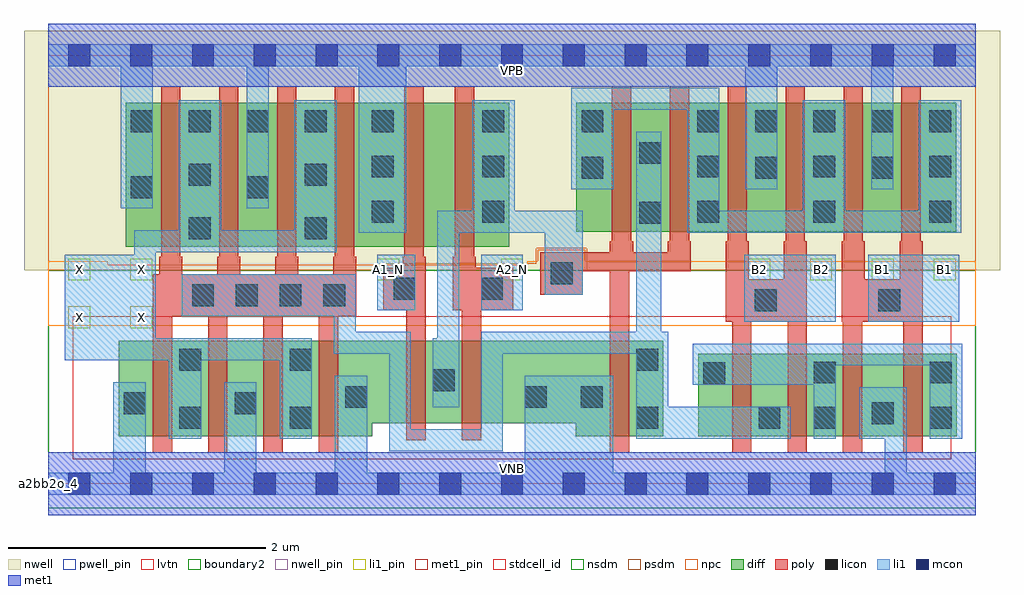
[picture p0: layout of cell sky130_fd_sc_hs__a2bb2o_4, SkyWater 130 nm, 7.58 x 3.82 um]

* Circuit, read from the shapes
.subckt sky130_fd_sc_hs__a2bb2o_4 A1_N A2_N B1 B2 VGND VNB VPB VPWR X
XM1 X n1 VGND VNB sky130_fd_pr__nfet_01v8_lvt w=0.74 l=0.15 m=4
XM2 n2 A1_N VGND VNB sky130_fd_pr__nfet_01v8_lvt w=0.64 l=0.15
XM3 VGND A2_N n2 VNB sky130_fd_pr__nfet_01v8_lvt w=0.64 l=0.15
XM4 n1 n2 VGND VNB sky130_fd_pr__nfet_01v8_lvt w=0.74 l=0.15
XM5 n1 B2 n3 VNB sky130_fd_pr__nfet_01v8_lvt w=0.64 l=0.15 m=2
XM6 VGND B1 n3 VNB sky130_fd_pr__nfet_01v8_lvt w=0.64 l=0.15 m=2
XM7 X n1 VPWR VPB sky130_fd_pr__pfet_01v8 w=1.12 l=0.15 m=4
XM8 n4 A1_N VPWR VPB sky130_fd_pr__pfet_01v8 w=1.12 l=0.15
XM9 n2 A2_N n4 VPB sky130_fd_pr__pfet_01v8 w=1.12 l=0.15
XM10 n1 n2 n5 VPB sky130_fd_pr__pfet_01v8 w=1 l=0.15 m=2
XM11 VPWR B2 n5 VPB sky130_fd_pr__pfet_01v8 w=1 l=0.15 m=2
XM12 VPWR B1 n5 VPB sky130_fd_pr__pfet_01v8 w=1 l=0.15 m=2
.ends

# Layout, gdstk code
import gdstk
lib = gdstk.Library(unit=1e-6, precision=1e-09)
def R(c, l, rs):  # rectangles x0, y0, x1, y1
    for r in rs: c.add(gdstk.rectangle(r[:2], r[2:], *l))
def A(c, l, x, y, w, h, nx, ny, dx, dy):  # array of equal rectangles
    R(c, l, [(x+i*dx, y+j*dy, x+i*dx+w, y+j*dy+h) for i in range(nx) for j in range(ny)])
def P(c, l, *ps):  # polygons
    for p in ps: c.add(gdstk.Polygon(p, *l))
nwell_pin = (64, 16)
nwell = (64, 20)
diff = (65, 20)
poly = (66, 20)
licon = (66, 44)
li1_pin = (67, 16)
li1 = (67, 20)
mcon = (67, 44)
met1_pin = (68, 16)
met1 = (68, 20)
stdcell_id = (81, 4)
nsdm = (93, 44)
psdm = (94, 20)
npc = (95, 20)
pwell_pin = (122, 16)
lvtn = (125, 44)
boundary2 = (236, 0)

sky130_fd_sc_hs__a2bb2o_ = lib.new_cell('sky130_fd_sc_hs__a2bb2o_4')
R(sky130_fd_sc_hs__a2bb2o_, nwell_pin, [(0,3.085,7.2,3.33)])
R(sky130_fd_sc_hs__a2bb2o_, nwell, [(-0.19,1.66,7.39,3.52)])
R(sky130_fd_sc_hs__a2bb2o_, diff, [(5.045,0.37,7.055,1.01), (0.6,1.84,3.58,2.96), (4.1,1.96,7.05,2.96)])
P(sky130_fd_sc_hs__a2bb2o_, diff, [(4.775,1.11),(0.545,1.11),(0.545,0.37),(2.515,0.37),(2.515,0.47),(4.095,0.47),(4.095,0.37),(4.775,0.37)])
P(sky130_fd_sc_hs__a2bb2o_, poly, [(6.79,1.885),(6.775,1.885),(6.775,3.09),(6.625,3.09),(6.625,1.885),(6.61,1.885),(6.61,1.59),(6.34,1.59),(6.34,1.885),(6.325,1.885),(6.325,3.09),(6.175,3.09),(6.175,1.885),(6.16,1.885),(6.16,1.26),(6.17,1.26),(6.17,0.24),(6.32,0.24),(6.32,1.26),(6.64,1.26),(6.64,0.24),(6.79,0.24)],
  [(5.89,1.885),(5.875,1.885),(5.875,3.09),(5.725,3.09),(5.725,1.885),(5.71,1.885),(5.71,1.59),(5.44,1.59),(5.44,1.885),(5.425,1.885),(5.425,3.09),(5.275,3.09),(5.275,1.885),(5.26,1.885),(5.26,1.26),(5.31,1.26),(5.31,0.24),(5.46,0.24),(5.46,1.26),(5.74,1.26),(5.74,0.24),(5.89,0.24)],
  [(4.99,1.885),(4.975,1.885),(4.975,3.09),(4.825,3.09),(4.825,1.885),(4.81,1.885),(4.81,1.8),(4.54,1.8),(4.54,1.885),(4.525,1.885),(4.525,3.09),(4.375,3.09),(4.375,1.885),(4.36,1.885),(4.36,1.8),(3.82,1.8),(3.82,1.47),(4.15,1.47),(4.15,1.65),(4.36,1.65),(4.36,0.24),(4.51,0.24),(4.51,1.65),(4.99,1.65)],
  [(3.61,1.68),(3.32,1.68),(3.32,1.765),(3.305,1.765),(3.305,3.09),(3.155,3.09),(3.155,1.765),(3.14,1.765),(3.14,1.35),(3.21,1.35),(3.21,0.34),(3.36,0.34),(3.36,1.35),(3.61,1.35)],
  [(2.93,1.765),(2.915,1.765),(2.915,3.09),(2.765,3.09),(2.765,1.765),(2.75,1.765),(2.75,1.68),(2.6,1.68),(2.6,1.35),(2.78,1.35),(2.78,0.34),(2.93,0.34)],
  [(2.39,1.765),(2.375,1.765),(2.375,3.09),(2.225,3.09),(2.225,1.765),(2.21,1.765),(2.21,1.63),(1.94,1.63),(1.94,1.765),(1.925,1.765),(1.925,3.09),(1.775,3.09),(1.775,1.765),(1.76,1.765),(1.76,1.63),(1.49,1.63),(1.49,1.765),(1.475,1.765),(1.475,3.09),(1.325,3.09),(1.325,1.765),(1.31,1.765),(1.31,1.63),(1.04,1.63),(1.04,1.765),(1.025,1.765),(1.025,3.09),(0.875,3.09),(0.875,1.765),(0.86,1.765),(0.86,1.63),(0.81,1.63),(0.81,0.24),(0.96,0.24),(0.96,1.3),(1.24,1.3),(1.24,0.24),(1.39,0.24),(1.39,1.3),(1.67,1.3),(1.67,0.24),(1.82,0.24),(1.82,1.3),(2.1,1.3),(2.1,0.24),(2.25,0.24),(2.25,1.3),(2.39,1.3)])
A(sky130_fd_sc_hs__a2bb2o_, licon, 1.115, 1.38, 0.17, 0.17, 4, 1, 0.34, 0)
A(sky130_fd_sc_hs__a2bb2o_, licon, 2.51, 2.03, 0.17, 0.17, 1, 3, 0, 0.35)
A(sky130_fd_sc_hs__a2bb2o_, licon, 3.37, 2.03, 0.17, 0.17, 1, 3, 0, 0.35)
A(sky130_fd_sc_hs__a2bb2o_, licon, 5.04, 2.03, 0.17, 0.17, 3, 2, 0.9, 0.35)
A(sky130_fd_sc_hs__a2bb2o_, licon, 0.64, 2.73, 0.17, 0.17, 4, 1, 0.45, 0)
A(sky130_fd_sc_hs__a2bb2o_, licon, 5.04, 2.73, 0.17, 0.17, 5, 1, 0.45, 0)
R(sky130_fd_sc_hs__a2bb2o_, licon, [(1.015,0.43,1.185,0.6), (1.875,0.43,2.045,0.6), (4.565,0.43,4.735,0.6), (5.515,0.43,5.685,0.6), (5.945,0.43,6.115,0.6), (6.845,0.43,7.015,0.6), (6.395,0.465,6.565,0.635), (0.585,0.54,0.755,0.71), (1.445,0.54,1.615,0.71), (2.305,0.59,2.475,0.76), (3.7,0.59,3.87,0.76), (4.135,0.59,4.305,0.76), (2.985,0.72,3.155,0.89), (5.085,0.775,5.255,0.945), (5.945,0.78,6.115,0.95), (6.845,0.78,7.015,0.95), (1.015,0.88,1.185,1.05), (1.875,0.88,2.045,1.05), (4.565,0.88,4.735,1.05), (5.485,1.34,5.655,1.51), (6.445,1.34,6.615,1.51), (2.68,1.43,2.85,1.6), (3.36,1.43,3.53,1.6), (3.9,1.55,4.07,1.72), (1.09,1.9,1.26,2.07), (1.99,1.9,2.16,2.07), (4.59,2.02,4.76,2.19), (0.64,2.22,0.81,2.39), (1.54,2.22,1.71,2.39), (1.09,2.315,1.26,2.485), (1.99,2.315,2.16,2.485), (4.14,2.37,4.31,2.54), (5.49,2.37,5.66,2.54), (6.39,2.37,6.56,2.54), (4.59,2.485,4.76,2.655), (4.14,2.73,4.31,2.9)])
A(sky130_fd_sc_hs__a2bb2o_, li1_pin, 5.435, 1.58, 0.17, 0.17, 4, 1, 0.48, 0)
R(sky130_fd_sc_hs__a2bb2o_, li1_pin, [(0.155,1.21,0.325,1.38), (0.635,1.21,0.805,1.38), (0.155,1.58,0.325,1.75), (0.635,1.58,0.805,1.75), (2.555,1.58,2.725,1.75), (3.515,1.58,3.685,1.75)])
R(sky130_fd_sc_hs__a2bb2o_, li1, [(5.405,1.26,6.115,1.78), (6.365,1.26,7.075,1.78), (2.555,1.35,2.85,1.78), (3.36,1.35,3.685,1.78)])
P(sky130_fd_sc_hs__a2bb2o_, li1, [(0.56,2.14),(0.56,3.245),(0,3.245),(0,3.415),(7.2,3.415),(7.2,3.245),(6.56,3.245),(6.56,2.29),(6.39,2.29),(6.39,3.245),(5.66,3.245),(5.66,2.29),(5.41,2.29),(5.41,3.245),(2.78,3.245),(2.78,1.95),(2.41,1.95),(2.41,3.245),(1.71,3.245),(1.71,2.14),(1.54,2.14),(1.54,3.245),(0.81,3.245),(0.81,2.14)],
  [(6.495,0.085),(6.495,0.35),(6.295,0.35),(6.295,0.75),(6.665,0.75),(6.665,0.085),(7.2,0.085),(7.2,-0.085),(0,-0.085),(0,0.085),(0.505,0.085),(0.505,0.79),(0.755,0.79),(0.755,0.085),(1.365,0.085),(1.365,0.79),(1.615,0.79),(1.615,0.085),(2.225,0.085),(2.225,0.84),(2.475,0.84),(2.475,0.085),(3.7,0.085),(3.7,0.84),(4.385,0.84),(4.385,0.085)],
  [(0.835,1.13),(2.045,1.13),(2.045,0.35),(1.795,0.35),(1.795,0.96),(1.185,0.96),(1.185,0.35),(0.935,0.35),(0.935,0.96),(0.125,0.96),(0.125,1.78),(0.665,1.78),(0.665,1.97),(1.01,1.97),(1.01,2.98),(1.34,2.98),(1.34,1.97),(1.91,1.97),(1.91,2.98),(2.24,2.98),(2.24,1.8),(0.835,1.8)],
  [(2.215,1.01),(2.215,1.3),(1.035,1.3),(1.035,1.63),(2.385,1.63),(2.385,1.18),(2.815,1.18),(2.815,0.425),(3.36,0.425),(3.36,1.18),(4.565,1.18),(4.565,2.735),(4.76,2.735),(4.76,1.18),(4.815,1.18),(4.815,0.6),(5.765,0.6),(5.765,0.35),(4.565,0.35),(4.565,1.01),(3.53,1.01),(3.53,0.255),(2.645,0.255),(2.645,1.01)],
  [(3.62,2.12),(4.15,2.12),(4.15,1.47),(3.855,1.47),(3.855,1.95),(3.19,1.95),(3.19,0.595),(2.985,0.595),(2.985,1.13),(3.02,1.13),(3.02,2.12),(3.29,2.12),(3.29,2.98),(3.62,2.98)],
  [(4.96,1.95),(4.96,2.905),(4.39,2.905),(4.39,2.29),(4.06,2.29),(4.06,3.075),(5.21,3.075),(5.21,2.12),(5.86,2.12),(5.86,2.98),(6.19,2.98),(6.19,2.12),(6.76,2.12),(6.76,2.98),(7.09,2.98),(7.09,1.95)],
  [(5.945,0.35),(5.945,0.77),(5.005,0.77),(5.005,1.09),(7.095,1.09),(7.095,0.35),(6.845,0.35),(6.845,0.92),(6.115,0.92),(6.115,0.35)])
A(sky130_fd_sc_hs__a2bb2o_, mcon, 0.155, -0.085, 0.17, 0.17, 15, 2, 0.48, 3.33)
R(sky130_fd_sc_hs__a2bb2o_, met1_pin, [(0,0,7.2,0.245), (0,3.085,7.2,3.33)])
R(sky130_fd_sc_hs__a2bb2o_, met1, [(0,-0.245,7.2,0.245), (0,3.085,7.2,3.575)])
R(sky130_fd_sc_hs__a2bb2o_, stdcell_id, [(0,0,7.2,3.33)])
R(sky130_fd_sc_hs__a2bb2o_, nsdm, [(0,-0.19,7.2,1.66)])
P(sky130_fd_sc_hs__a2bb2o_, psdm, [(7.2,3.52),(0,3.52),(0,1.66),(2.57,1.66),(2.57,1.71),(3.79,1.71),(3.79,1.83),(4.18,1.83),(4.18,1.66),(7.2,1.66)])
P(sky130_fd_sc_hs__a2bb2o_, npc, [(7.2,1.73),(4.17,1.73),(4.17,1.82),(3.8,1.82),(3.8,1.73),(3.72,1.73),(3.72,1.7),(0.46,1.7),(0.46,1.73),(0,1.73),(0,1.23),(7.2,1.23)])
R(sky130_fd_sc_hs__a2bb2o_, pwell_pin, [(0,0,7.2,0.245)])
R(sky130_fd_sc_hs__a2bb2o_, lvtn, [(0.19,0.19,7.01,1.3)])
R(sky130_fd_sc_hs__a2bb2o_, boundary2, [(0,0,7.2,3.33)])
sky130_fd_sc_hs__a2bb2o_.add(gdstk.Label('a2bb2o_4', (0,0), layer=83, texttype=44))
sky130_fd_sc_hs__a2bb2o_.add(gdstk.Label('VNB', (3.6,0.123), layer=64, texttype=59))
sky130_fd_sc_hs__a2bb2o_.add(gdstk.Label('VPB', (3.6,3.208), layer=64, texttype=5))
sky130_fd_sc_hs__a2bb2o_.add(gdstk.Label('VPWR', (3.6,3.208), layer=68, texttype=5))
sky130_fd_sc_hs__a2bb2o_.add(gdstk.Label('VGND', (3.6,0.123), layer=68, texttype=5))
sky130_fd_sc_hs__a2bb2o_.add(gdstk.Label('X', (0.24,1.295), layer=67, texttype=5))
sky130_fd_sc_hs__a2bb2o_.add(gdstk.Label('X', (0.24,1.665), layer=67, texttype=5))
sky130_fd_sc_hs__a2bb2o_.add(gdstk.Label('X', (0.72,1.295), layer=67, texttype=5))
sky130_fd_sc_hs__a2bb2o_.add(gdstk.Label('X', (0.72,1.665), layer=67, texttype=5))
sky130_fd_sc_hs__a2bb2o_.add(gdstk.Label('B2', (5.52,1.665), layer=67, texttype=5))
sky130_fd_sc_hs__a2bb2o_.add(gdstk.Label('B2', (6,1.665), layer=67, texttype=5))
sky130_fd_sc_hs__a2bb2o_.add(gdstk.Label('B1', (6.48,1.665), layer=67, texttype=5))
sky130_fd_sc_hs__a2bb2o_.add(gdstk.Label('B1', (6.96,1.665), layer=67, texttype=5))
sky130_fd_sc_hs__a2bb2o_.add(gdstk.Label('A2_N', (3.6,1.665), layer=67, texttype=5))
sky130_fd_sc_hs__a2bb2o_.add(gdstk.Label('A1_N', (2.64,1.665), layer=67, texttype=5))

lib.write_gds('sky130_fd_sc_hs__a2bb2o_4.gds')
